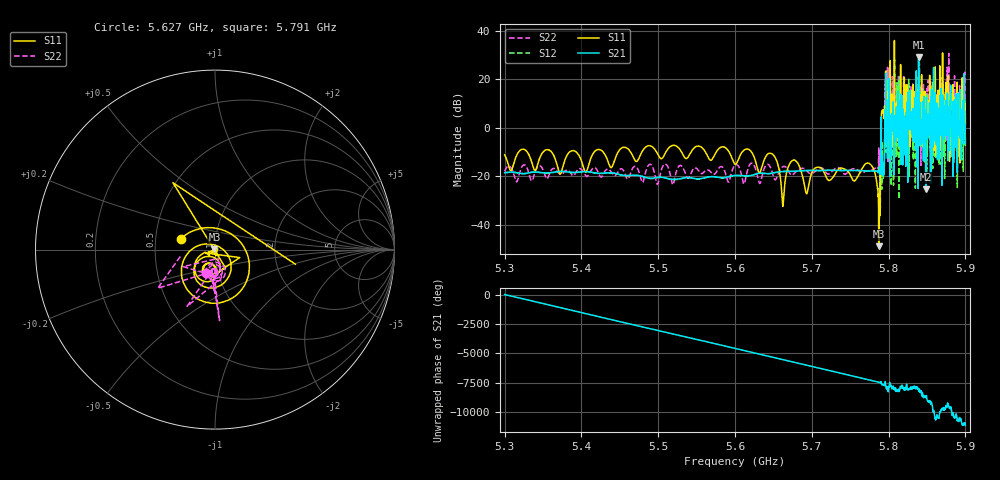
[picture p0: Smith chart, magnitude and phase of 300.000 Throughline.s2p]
# HZ S DB R 50
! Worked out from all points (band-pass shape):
!   2000 points, 5.3 GHz to 5.9 GHz, reference 50 ohm
!   highest |S21| = 29.01 dB at 5.839 GHz (marker M1); lowest = -25.4 dB at 5.848 GHz (marker M2)
!   |S21| within 3 dB of the highest: 5.839044 GHz to 5.839099 GHz (54.88 kHz wide, 0.00094 % of centre)
!   lowest |S11| = -48.9 dB at 5.787 GHz (marker M3), VSWR 1.01, Z = 49.7 + j0.13 ohm
!   |S11| at or under -10 dB: 5.361187 GHz to 5.384512 GHz (23.32 MHz wide, 0.434 % of centre); 5.393321 GHz to 5.416631 GHz (23.31 MHz wide, 0.431 % of centre); 5.622 GHz to 5.79 GHz (168.5 MHz wide, 2.95 % of centre) (the widest 3 of 17)
!   |S22| runs from -25.7 to 30.7 dB; largest |S21 - S12| = 29
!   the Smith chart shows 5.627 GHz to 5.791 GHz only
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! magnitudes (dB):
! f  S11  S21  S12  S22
! 5.3 GHz  -11.2  -18.5  -18.6  -18.0
! 5.4 GHz  -13.9  -18.2  -18.2  -17.3
! 5.5 GHz  -11.4  -20.5  -20.5  -22.6
! 5.509 GHz  -10.7  -20.7  -20.7  -15.0
! 5.519 GHz  -7.3  -21.3  -21.4  -23.6
! 5.585 GHz  -7.9  -20.6  -20.8  -16.5
! 5.6 GHz  -15.1  -19.7  -19.7  -15.4
! 5.648 GHz  -10.7  -18.7  -18.8  -18.1
! 5.663 GHz  -32.1  -18.0  -18.0  -16.0
! 5.675 GHz  -13.5  -18.0  -18.0  -19.5
! 5.693 GHz  -27.2  -17.6  -17.6  -17.6
! 5.7 GHz  -18.5  -17.6  -17.6  -18.8
! 5.756 GHz  -21.9  -17.6  -17.6  -16.8
! 5.774 GHz  -14.6  -17.8  -17.9  -17.7
! 5.787 GHz  -48.9  -17.8  -18.3  -8.0
! 5.793 GHz  7.3  -18.1  -18.6  5.9
! 5.8 GHz  2.5  0.5  -9.2  5.7
! 5.839 GHz  21.0  29.0  1.1  18.1
! 5.848 GHz  12.7  -25.4  6.2  2.7
! 5.864 GHz  6.8  1.2  0.5  14.6
! 5.879 GHz  -10.6  8.8  -0.6  8.4
! 5.9 GHz  1.2  -6.6  -7.5  3.4
